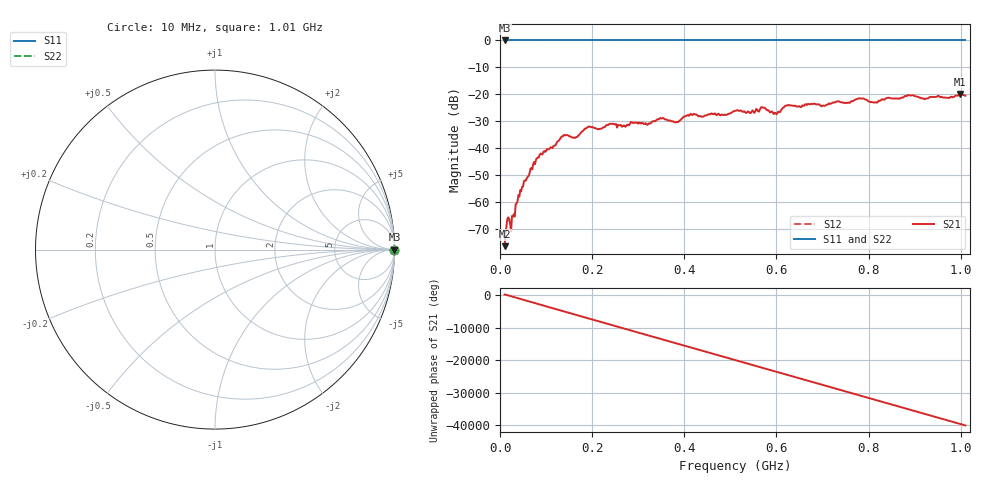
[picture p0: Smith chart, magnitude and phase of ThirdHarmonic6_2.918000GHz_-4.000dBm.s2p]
! 8/17/2025 8:06:40 AM
! C:\ANRITSUVNA\TEMP\TEMP.S2P
! CHANNEL.1
! TR.MEASUREMENT
! RAW.DATA
! RF.CORRECTION.OFF
! AVERAGING.OFF
! IF.BANDWIDTH: 5KHZ
! SWEEPTYPE:  FREQ.SWEEP(Linear)
! Reference Plane Port Info
! PORT:  PORT1  PORT2
! DISTANCE:  0  m  0  m
! TIME:  0  s  0  s
! PHASE.OFFSET:  0  deg.  0  deg.
! LOSS:  0  dB  0  dB
! REF.LOSS:  0  dB  0  dB
! REF.FREQ:  0  Hz  0  Hz
! Power Info
! POWER:  -20  dBm  -20  dBm
! EFF.POWER:  -20  dBm  -20  dBm
! SOURCE.ATTEN:  0  dB  0  dB
! TEST.ATTEN:  0  dB  0  dB
# GHZ S RI R 50.0
! FREQ.GHZ  S11RE  S11IM  S21RE  S21IM  S12RE  S12IM  S22RE  S22IM
!; PortSelection: Port_12
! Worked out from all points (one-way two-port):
!   501 points, 10 MHz to 1.01 GHz, reference 50 ohm
!   highest |S21| = -19.87 dB at 998 MHz (marker M1); lowest = -76.3 dB at 10 MHz (marker M2)
!   lowest |S11| = 0.0 dB at 10 MHz (marker M3)
!   |S11| at or under -10 dB: nowhere
!   |S22| runs from 0.0 to 0.0 dB; largest |S21 - S12| = 1.1
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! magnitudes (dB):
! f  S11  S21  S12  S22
! 10 MHz  0.0  -76.3  0.0  0.0
! 16 MHz  0.0  -66.2  0.0  0.0
! 28 MHz  0.0  -65.4  0.0  0.0
! 48 MHz  0.0  -54.3  0.0  0.0
! 82 MHz  0.0  -43.5  0.0  0.0
! 136 MHz  0.0  -35.6  0.0  0.0
! 164 MHz  0.0  -36.0  0.0  0.0
! 178 MHz  0.0  -33.8  0.0  0.0
! 194 MHz  0.0  -31.9  0.0  0.0
! 322 MHz  0.0  -31.0  0.0  0.0
! 344 MHz  0.0  -29.3  0.0  0.0
! 384 MHz  0.0  -30.2  0.0  0.0
! 410 MHz  0.0  -27.9  0.0  0.0
! 510 MHz  0.0  -26.1  0.0  0.0
! 570 MHz  0.0  -24.9  0.0  0.0
! 598 MHz  0.0  -26.9  0.0  0.0
! 622 MHz  0.0  -24.1  0.0  0.0
! 678 MHz  0.0  -23.6  0.0  0.0
! 814 MHz  0.0  -22.9  0.0  0.0
! 844 MHz  0.0  -21.2  0.0  0.0
! 998 MHz  0.0  -19.9  0.0  0.0
! 1.01 GHz  0.0  -20.5  0.0  0.0
